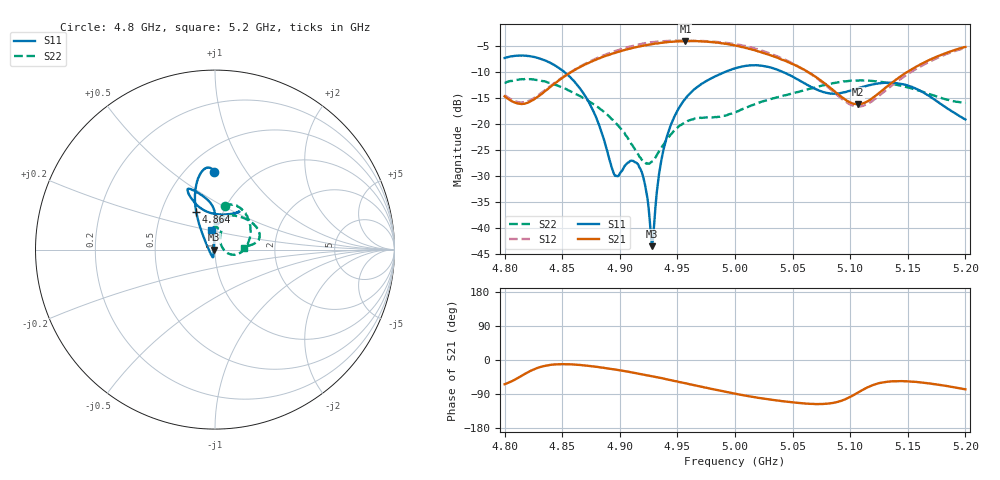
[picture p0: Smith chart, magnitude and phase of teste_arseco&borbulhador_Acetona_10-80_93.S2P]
! Network Analyzer HP8722D
! Hewlett-Packard
! Data name: Linha & Wilkinson
! Saver's name: Rodrigo Anjos
! Comments: Teste da utilização de aquisição
! continua pelo VNA HP8722D
! Time and date: 25/4/2025 16:02
!  Frequency  S11  S21  S12  S22
# HZ  S  MA R 50
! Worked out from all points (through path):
!   401 points, 4.8 GHz to 5.2 GHz, reference 50 ohm
!   highest |S21| = -3.99 dB at 4.957 GHz (marker M1); lowest = -16.1 dB at 5.107 GHz (marker M2)
!   lowest |S11| = -43.4 dB at 4.928 GHz (marker M3), VSWR 1.01, Z = 49.3 - j0.0883 ohm
!   |S11| at or under -10 dB: 4.852 GHz to 4.991 GHz (138.4 MHz wide, 2.81 % of centre); 5.042 GHz to end of sweep
!   |S22| runs from -27.6 to -11.2 dB; largest |S21 - S12| = 1.2
!   S11 on the Smith chart (normalised r, x): 4.8 GHz: 0.68, +0.72; 4.864 GHz: 0.75, +0.33; 5.2 GHz: 0.94, +0.21
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4.8e9  0.4346 90.7  0.1861 -63.9  0.1913 69.6  0.2503 77.6
4.82e9  0.4537 97.0  0.161 -32.7  0.1668 98.2  0.271 62.0
4.844e9  0.3665 106.9  0.2492 -11.6  0.2524 119.2  0.2396 35.8
4.864e9  0.2325 116.6  0.3486 -12.7  0.3519 120.9  0.1902 12.1
4.867e9  0.2091 118.3  0.3633 -13.8  0.3678 120.7  0.183 8.8
4.88e9  0.1122 128.6  0.4217 -18.4  0.4323 118.3  0.1483 -5.1
4.896e9  0.03186 -166.5  0.4868 -25.2  0.5071 113.1  0.1048 -16.0
4.909e9  0.04449 -107.7  0.535 -31.8  0.5605 107.6  0.06794 -14.5
4.917e9  0.03853 -103.0  0.5601 -36.4  0.5887 103.7  0.04879 -1.3
4.922e9  0.02583 -107.1  0.5763 -39.2  0.6017 100.9  0.043 15.3
4.928e9  0.006723 -172.4  0.5902 -42.8  0.6173 97.2  0.04391 40.4
4.93e9  0.0117 123.6  0.5966 -44.1  0.6196 95.8  0.04656 47.7
4.934e9  0.03299 99.6  0.6041 -46.7  0.6282 93.4  0.05463 57.8
4.943e9  0.08965 90.8  0.6189 -52.5  0.6363 87.6  0.07658 68.4
4.957e9  0.1777 89.3  0.6319 -61.3  0.6391 78.6  0.1052 71.1
5e9  0.3458 109.2  0.5731 -88.8  0.5923 50.8  0.1308 88.1
5.03e9  0.3537 115.1  0.4652 -104.1  0.4821 34.0  0.1734 85.4
5.067e9  0.227 105.4  0.3015 -115.8  0.2988 23.6  0.2223 57.3
5.107e9  0.2226 64.2  0.1563 -85.5  0.1479 57.7  0.2637 24.2
5.134e9  0.2509 57.3  0.2406 -56.7  0.2261 88.6  0.2484 12.5
5.169e9  0.1857 69.9  0.4176 -62.0  0.4015 84.9  0.1949 6.9
5.2e9  0.1113 100.6  0.5545 -77.4  0.5442 70.3  0.1611 3.7
